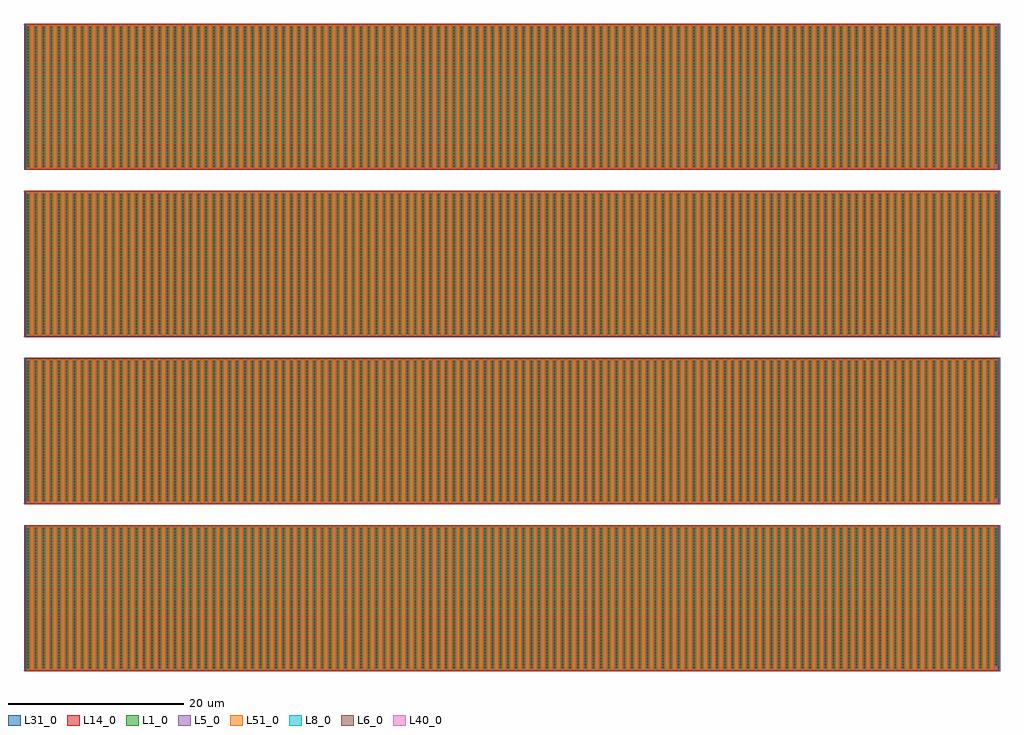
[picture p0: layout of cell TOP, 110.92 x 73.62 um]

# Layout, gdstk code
import gdstk
lib = gdstk.Library(unit=1e-6, precision=1e-09)
def R(c, l, rs):  # rectangles x0, y0, x1, y1
    for r in rs: c.add(gdstk.rectangle(r[:2], r[2:], *l))
def A(c, l, x, y, w, h, nx, ny, dx, dy):  # array of equal rectangles
    R(c, l, [(x+i*dx, y+j*dy, x+i*dx+w, y+j*dy+h) for i in range(nx) for j in range(ny)])
L1_0 = (1, 0)
L5_0 = (5, 0)
L6_0 = (6, 0)
L8_0 = (8, 0)
L14_0 = (14, 0)
L31_0 = (31, 0)
L40_0 = (40, 0)
L51_0 = (51, 0)

pmos = lib.new_cell('pmos')
A(pmos, L1_0, 0, 0, 0.3, 0.3, 126, 1, 0.88, 0)
R(pmos, L1_0, [(0,0,110.3,16)])
A(pmos, L5_0, 0.34, -0.18, 0.5, 16.36, 125, 1, 0.88, 0)
R(pmos, L5_0, [(0.34,-0.18,0.84,16.18), (0.34,-0.18,0.84,16.18)])
A(pmos, L6_0, 0.07, 0.07, 0.16, 0.16, 126, 4, 0.88, 0.34)
A(pmos, L6_0, 0.07, 1.435, 0.16, 0.16, 126, 4, 0.88, 0.34)
A(pmos, L6_0, 0.07, 2.8, 0.16, 0.16, 126, 4, 0.88, 0.34)
A(pmos, L6_0, 0.07, 4.165, 0.16, 0.16, 126, 4, 0.88, 0.34)
A(pmos, L6_0, 0.07, 5.53, 0.16, 0.16, 126, 4, 0.88, 0.34)
A(pmos, L6_0, 0.07, 6.895, 0.16, 0.16, 126, 3, 0.88, 0.34)
A(pmos, L6_0, 0.07, 7.92, 0.16, 0.16, 126, 4, 0.88, 0.34)
A(pmos, L6_0, 0.07, 9.285, 0.16, 0.16, 126, 4, 0.88, 0.34)
A(pmos, L6_0, 0.07, 10.65, 0.16, 0.16, 126, 4, 0.88, 0.34)
A(pmos, L6_0, 0.07, 12.015, 0.16, 0.16, 126, 4, 0.88, 0.34)
A(pmos, L6_0, 0.07, 13.38, 0.16, 0.16, 126, 4, 0.88, 0.34)
A(pmos, L6_0, 0.07, 14.745, 0.16, 0.16, 126, 3, 0.88, 0.34)
A(pmos, L6_0, 0.07, 15.77, 0.16, 0.16, 126, 1, 0.88, 0)
A(pmos, L8_0, 0.95, 0, 0.16, 16, 125, 1, 0.88, 0)
R(pmos, L8_0, [(0.07,0,0.23,16), (0.07,0,0.23,16), (0.07,0,0.23,16), (0.95,0,1.11,16), (0.95,0,1.11,16)])
R(pmos, L14_0, [(-0.18,-0.3,110.48,16.3)])
R(pmos, L31_0, [(-0.31,-0.31,110.61,16.31)])
R(pmos, L40_0, [(110,0,110.3,0.3), (110,0,110.3,0.3)])
A(pmos, L51_0, 0.34, -0.18, 0.5, 16.36, 125, 1, 0.88, 0)
pmos.add(gdstk.Label('pmos', (0.59,8), layer=63, texttype=0))
pmos.add(gdstk.Label('pmos', (0.59,8), layer=51, texttype=0))
pmos.add(gdstk.Label('pmos', (1.47,8), layer=51, texttype=0))
pmos.add(gdstk.Label('pmos', (2.35,8), layer=51, texttype=0))
pmos.add(gdstk.Label('pmos', (3.23,8), layer=51, texttype=0))
pmos.add(gdstk.Label('pmos', (4.11,8), layer=51, texttype=0))
pmos.add(gdstk.Label('pmos', (4.99,8), layer=51, texttype=0))
pmos.add(gdstk.Label('pmos', (5.87,8), layer=51, texttype=0))
pmos.add(gdstk.Label('pmos', (6.75,8), layer=51, texttype=0))
pmos.add(gdstk.Label('pmos', (7.63,8), layer=51, texttype=0))
pmos.add(gdstk.Label('pmos', (8.51,8), layer=51, texttype=0))
pmos.add(gdstk.Label('pmos', (9.39,8), layer=51, texttype=0))
pmos.add(gdstk.Label('pmos', (10.27,8), layer=51, texttype=0))
pmos.add(gdstk.Label('pmos', (11.15,8), layer=51, texttype=0))
pmos.add(gdstk.Label('pmos', (12.03,8), layer=51, texttype=0))
pmos.add(gdstk.Label('pmos', (12.91,8), layer=51, texttype=0))
pmos.add(gdstk.Label('pmos', (13.79,8), layer=51, texttype=0))
pmos.add(gdstk.Label('pmos', (14.67,8), layer=51, texttype=0))
pmos.add(gdstk.Label('pmos', (15.55,8), layer=51, texttype=0))
pmos.add(gdstk.Label('pmos', (16.43,8), layer=51, texttype=0))
pmos.add(gdstk.Label('pmos', (17.31,8), layer=51, texttype=0))
pmos.add(gdstk.Label('pmos', (18.19,8), layer=51, texttype=0))
pmos.add(gdstk.Label('pmos', (19.07,8), layer=51, texttype=0))
pmos.add(gdstk.Label('pmos', (19.95,8), layer=51, texttype=0))
pmos.add(gdstk.Label('pmos', (20.83,8), layer=51, texttype=0))
pmos.add(gdstk.Label('pmos', (21.71,8), layer=51, texttype=0))
pmos.add(gdstk.Label('pmos', (22.59,8), layer=51, texttype=0))
pmos.add(gdstk.Label('pmos', (23.47,8), layer=51, texttype=0))
pmos.add(gdstk.Label('pmos', (24.35,8), layer=51, texttype=0))
pmos.add(gdstk.Label('pmos', (25.23,8), layer=51, texttype=0))
pmos.add(gdstk.Label('pmos', (26.11,8), layer=51, texttype=0))
pmos.add(gdstk.Label('pmos', (26.99,8), layer=51, texttype=0))
pmos.add(gdstk.Label('pmos', (27.87,8), layer=51, texttype=0))
pmos.add(gdstk.Label('pmos', (28.75,8), layer=51, texttype=0))
pmos.add(gdstk.Label('pmos', (29.63,8), layer=51, texttype=0))
pmos.add(gdstk.Label('pmos', (30.51,8), layer=51, texttype=0))
pmos.add(gdstk.Label('pmos', (31.39,8), layer=51, texttype=0))
pmos.add(gdstk.Label('pmos', (32.27,8), layer=51, texttype=0))
pmos.add(gdstk.Label('pmos', (33.15,8), layer=51, texttype=0))
pmos.add(gdstk.Label('pmos', (34.03,8), layer=51, texttype=0))
pmos.add(gdstk.Label('pmos', (34.91,8), layer=51, texttype=0))
pmos.add(gdstk.Label('pmos', (35.79,8), layer=51, texttype=0))
pmos.add(gdstk.Label('pmos', (36.67,8), layer=51, texttype=0))
pmos.add(gdstk.Label('pmos', (37.55,8), layer=51, texttype=0))
pmos.add(gdstk.Label('pmos', (38.43,8), layer=51, texttype=0))
pmos.add(gdstk.Label('pmos', (39.31,8), layer=51, texttype=0))
pmos.add(gdstk.Label('pmos', (40.19,8), layer=51, texttype=0))
pmos.add(gdstk.Label('pmos', (41.07,8), layer=51, texttype=0))
pmos.add(gdstk.Label('pmos', (41.95,8), layer=51, texttype=0))
pmos.add(gdstk.Label('pmos', (42.83,8), layer=51, texttype=0))
pmos.add(gdstk.Label('pmos', (43.71,8), layer=51, texttype=0))
pmos.add(gdstk.Label('pmos', (44.59,8), layer=51, texttype=0))
pmos.add(gdstk.Label('pmos', (45.47,8), layer=51, texttype=0))
pmos.add(gdstk.Label('pmos', (46.35,8), layer=51, texttype=0))
pmos.add(gdstk.Label('pmos', (47.23,8), layer=51, texttype=0))
pmos.add(gdstk.Label('pmos', (48.11,8), layer=51, texttype=0))
pmos.add(gdstk.Label('pmos', (48.99,8), layer=51, texttype=0))
pmos.add(gdstk.Label('pmos', (49.87,8), layer=51, texttype=0))
pmos.add(gdstk.Label('pmos', (50.75,8), layer=51, texttype=0))
pmos.add(gdstk.Label('pmos', (51.63,8), layer=51, texttype=0))
pmos.add(gdstk.Label('pmos', (52.51,8), layer=51, texttype=0))
pmos.add(gdstk.Label('pmos', (53.39,8), layer=51, texttype=0))
pmos.add(gdstk.Label('pmos', (54.27,8), layer=51, texttype=0))
pmos.add(gdstk.Label('pmos', (55.15,8), layer=51, texttype=0))
pmos.add(gdstk.Label('pmos', (56.03,8), layer=51, texttype=0))
pmos.add(gdstk.Label('pmos', (56.91,8), layer=51, texttype=0))
pmos.add(gdstk.Label('pmos', (57.79,8), layer=51, texttype=0))
pmos.add(gdstk.Label('pmos', (58.67,8), layer=51, texttype=0))
pmos.add(gdstk.Label('pmos', (59.55,8), layer=51, texttype=0))
pmos.add(gdstk.Label('pmos', (60.43,8), layer=51, texttype=0))
pmos.add(gdstk.Label('pmos', (61.31,8), layer=51, texttype=0))
pmos.add(gdstk.Label('pmos', (62.19,8), layer=51, texttype=0))
pmos.add(gdstk.Label('pmos', (63.07,8), layer=51, texttype=0))
pmos.add(gdstk.Label('pmos', (63.95,8), layer=51, texttype=0))
pmos.add(gdstk.Label('pmos', (64.83,8), layer=51, texttype=0))
pmos.add(gdstk.Label('pmos', (65.71,8), layer=51, texttype=0))
pmos.add(gdstk.Label('pmos', (66.59,8), layer=51, texttype=0))
pmos.add(gdstk.Label('pmos', (67.47,8), layer=51, texttype=0))
pmos.add(gdstk.Label('pmos', (68.35,8), layer=51, texttype=0))
pmos.add(gdstk.Label('pmos', (69.23,8), layer=51, texttype=0))
pmos.add(gdstk.Label('pmos', (70.11,8), layer=51, texttype=0))
pmos.add(gdstk.Label('pmos', (70.99,8), layer=51, texttype=0))
pmos.add(gdstk.Label('pmos', (71.87,8), layer=51, texttype=0))
pmos.add(gdstk.Label('pmos', (72.75,8), layer=51, texttype=0))
pmos.add(gdstk.Label('pmos', (73.63,8), layer=51, texttype=0))
pmos.add(gdstk.Label('pmos', (74.51,8), layer=51, texttype=0))
pmos.add(gdstk.Label('pmos', (75.39,8), layer=51, texttype=0))
pmos.add(gdstk.Label('pmos', (76.27,8), layer=51, texttype=0))
pmos.add(gdstk.Label('pmos', (77.15,8), layer=51, texttype=0))
pmos.add(gdstk.Label('pmos', (78.03,8), layer=51, texttype=0))
pmos.add(gdstk.Label('pmos', (78.91,8), layer=51, texttype=0))
pmos.add(gdstk.Label('pmos', (79.79,8), layer=51, texttype=0))
pmos.add(gdstk.Label('pmos', (80.67,8), layer=51, texttype=0))
pmos.add(gdstk.Label('pmos', (81.55,8), layer=51, texttype=0))
pmos.add(gdstk.Label('pmos', (82.43,8), layer=51, texttype=0))
pmos.add(gdstk.Label('pmos', (83.31,8), layer=51, texttype=0))
pmos.add(gdstk.Label('pmos', (84.19,8), layer=51, texttype=0))
pmos.add(gdstk.Label('pmos', (85.07,8), layer=51, texttype=0))
pmos.add(gdstk.Label('pmos', (85.95,8), layer=51, texttype=0))
pmos.add(gdstk.Label('pmos', (86.83,8), layer=51, texttype=0))
pmos.add(gdstk.Label('pmos', (87.71,8), layer=51, texttype=0))
pmos.add(gdstk.Label('pmos', (88.59,8), layer=51, texttype=0))
pmos.add(gdstk.Label('pmos', (89.47,8), layer=51, texttype=0))
pmos.add(gdstk.Label('pmos', (90.35,8), layer=51, texttype=0))
pmos.add(gdstk.Label('pmos', (91.23,8), layer=51, texttype=0))
pmos.add(gdstk.Label('pmos', (92.11,8), layer=51, texttype=0))
pmos.add(gdstk.Label('pmos', (92.99,8), layer=51, texttype=0))
pmos.add(gdstk.Label('pmos', (93.87,8), layer=51, texttype=0))
pmos.add(gdstk.Label('pmos', (94.75,8), layer=51, texttype=0))
pmos.add(gdstk.Label('pmos', (95.63,8), layer=51, texttype=0))
pmos.add(gdstk.Label('pmos', (96.51,8), layer=51, texttype=0))
pmos.add(gdstk.Label('pmos', (97.39,8), layer=51, texttype=0))
pmos.add(gdstk.Label('pmos', (98.27,8), layer=51, texttype=0))
pmos.add(gdstk.Label('pmos', (99.15,8), layer=51, texttype=0))
pmos.add(gdstk.Label('pmos', (100.03,8), layer=51, texttype=0))
pmos.add(gdstk.Label('pmos', (100.91,8), layer=51, texttype=0))
pmos.add(gdstk.Label('pmos', (101.79,8), layer=51, texttype=0))
pmos.add(gdstk.Label('pmos', (102.67,8), layer=51, texttype=0))
pmos.add(gdstk.Label('pmos', (103.55,8), layer=51, texttype=0))
pmos.add(gdstk.Label('pmos', (104.43,8), layer=51, texttype=0))
pmos.add(gdstk.Label('pmos', (105.31,8), layer=51, texttype=0))
pmos.add(gdstk.Label('pmos', (106.19,8), layer=51, texttype=0))
pmos.add(gdstk.Label('pmos', (107.07,8), layer=51, texttype=0))
pmos.add(gdstk.Label('pmos', (107.95,8), layer=51, texttype=0))
pmos.add(gdstk.Label('pmos', (108.83,8), layer=51, texttype=0))
pmos.add(gdstk.Label('pmos', (109.71,8), layer=51, texttype=0))

top = lib.new_cell('TOP')
r = gdstk.Reference(pmos, (0,0)); r.repetition = gdstk.Repetition(1, 4, v1=(0,0), v2=(0,19)); top.add(r)

lib.write_gds('TOP.gds')
